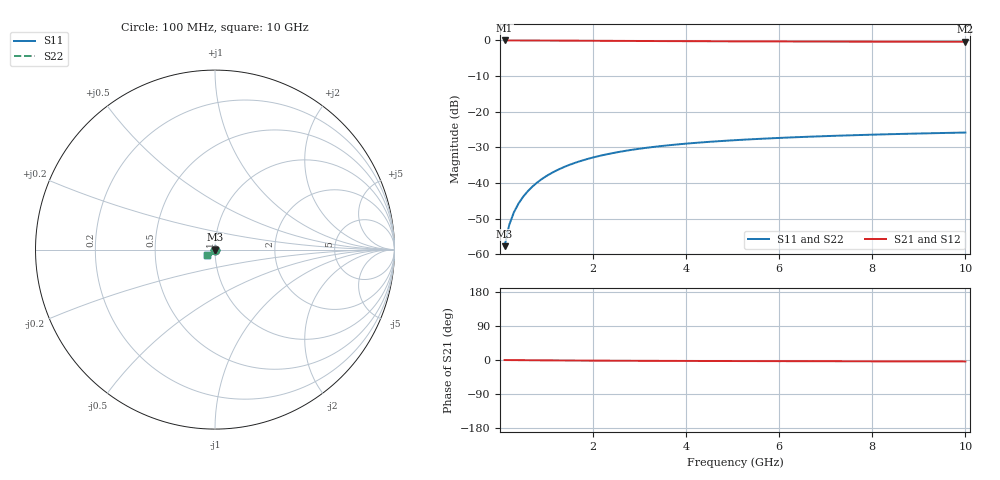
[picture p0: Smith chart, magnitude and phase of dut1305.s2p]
! Touchstone file exported from HFSS 2024.1.0
!  File:  C:/UserFiles/LocalFiles/RDL_TSV_Batchsim/temp_TSV1_1305_1780372812.aedt
!  Generated:  12:05:19 PM Jun  2, 2026
!  Design:  TSV1
!  Project:  temp_TSV1_1305_1780372812
!  Setup:  Setup1
!  Solution:  Sweep
! Variables:
!  dtsv = 14.44um
!  hbump = 3um
!  htsv = 54.51um
!  lrdl = 252.1521522um
!  p = 40
!  p1 = 41.04um
!  t = 500um
!  trdl = 3um
!  wrdl = 24.89489489um
# GHz S MA R 50.000000
! Terminal data exported
! Port[1] = TSV22_T1
! Port[2] = TSV22_T2
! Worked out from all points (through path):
!   100 points, 100 MHz to 10 GHz, reference 50 ohm
!   highest |S21| = 0.00 dB at 100 MHz (marker M1); lowest = -0.4 dB at 10 GHz (marker M2)
!   lowest |S11| = -57.7 dB at 100 MHz (marker M3), VSWR 1.00, Z = 50 - j0.13 ohm
!   |S11| at or under -10 dB: start of sweep to end of sweep
!   |S22| runs from -57.7 to -25.8 dB; largest |S21 - S12| = 2.8e-15
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0.1  0.001298 -88.3  0.9999 -0.1  0.9999 -0.1  0.001298 -88.3
! Gamma 0 0 0 0
! Port Impedance 50 0 50 0
0.2  0.002591 -91.4  0.9998 -0.2  0.9998 -0.2  0.002591 -91.4
0.3  0.003881 -93.4  0.9996 -0.3  0.9996 -0.3  0.003881 -93.4
0.4  0.005163 -95.1  0.9994 -0.4  0.9994 -0.4  0.005163 -95.1
0.5  0.006435 -96.7  0.9991 -0.5  0.9991 -0.5  0.006435 -96.7
0.6  0.007693 -98.2  0.9988 -0.6  0.9988 -0.6  0.007693 -98.2
0.7  0.008935 -99.6  0.9983 -0.7  0.9983 -0.7  0.008935 -99.6
0.8  0.01016 -101.0  0.9979 -0.8  0.9979 -0.8  0.01016 -101.0
0.9  0.01136 -102.4  0.9974 -0.9  0.9974 -0.9  0.01136 -102.4
1.1  0.01369 -105.1  0.9962 -1.0  0.9962 -1.0  0.01369 -105.1
1.4  0.01699 -108.8  0.9943 -1.3  0.9943 -1.3  0.01699 -108.8
1.6  0.01904 -111.1  0.9929 -1.4  0.9929 -1.4  0.01904 -111.1
1.8  0.02098 -113.3  0.9914 -1.5  0.9914 -1.5  0.02098 -113.3
2.1  0.02366 -116.4  0.9893 -1.7  0.9893 -1.7  0.02366 -116.4
2.5  0.02684 -120.1  0.9864 -1.9  0.9864 -1.9  0.02684 -120.1
2.9  0.02962 -123.3  0.9836 -2.1  0.9836 -2.1  0.02962 -123.3
3.4  0.03262 -126.7  0.9804 -2.3  0.9804 -2.3  0.03262 -126.7
4.2  0.03655 -131.2  0.9759 -2.5  0.9759 -2.5  0.03655 -131.2
5.1  0.04004 -135.1  0.9716 -2.8  0.9716 -2.8  0.04004 -135.1
6.7  0.04474 -140.0  0.9657 -3.2  0.9657 -3.2  0.04474 -140.0
8.4  0.0484 -143.7  0.961 -3.6  0.961 -3.6  0.0484 -143.7
10  0.05101 -146.3  0.9577 -3.9  0.9577 -3.9  0.05101 -146.3
